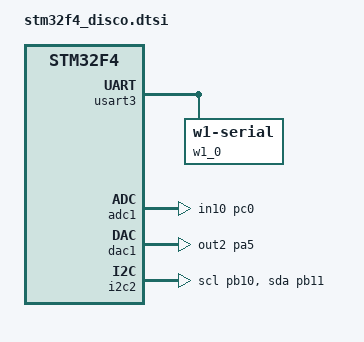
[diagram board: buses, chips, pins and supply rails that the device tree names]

&usart3 {
	status = "okay";

	w1_0: w1-zephyr-serial-0 {
		compatible = "zephyr,w1-serial";
		#address-cells = <1>;
		#size-cells = <0>;
		status = "okay";

		ds18b20 {
			compatible = "maxim,ds18b20";
			family-code = <0x28>;
			resolution = <12>;
			status = "okay";
		};
	};
};

&adc1 {
	pinctrl-0 = <&adc1_in10_pc0>;
	pinctrl-names = "default";
	st,adc-prescaler = <2>;
	status = "okay";
};

&dac1 {
	pinctrl-0 = <&dac_out2_pa5>;
	pinctrl-names = "default";	
	status = "okay";
};

&i2c2{
	pinctrl-0 = <&i2c2_scl_pb10 &i2c2_sda_pb11>;
	pinctrl-names = "default";
	status = "okay";	
};

